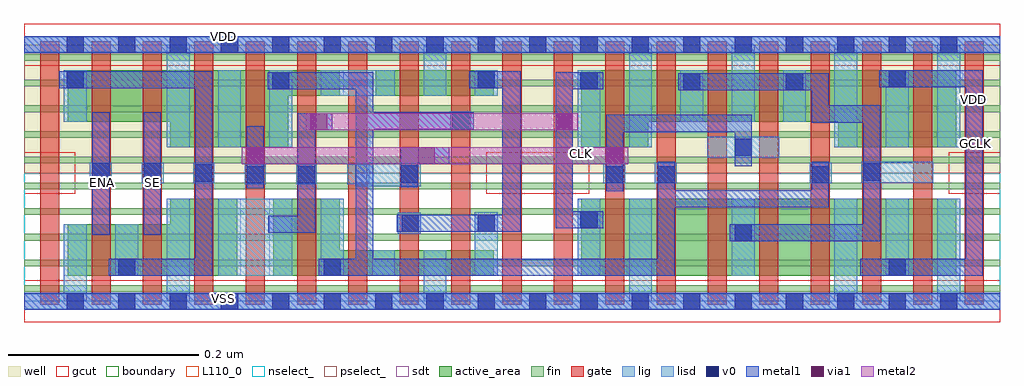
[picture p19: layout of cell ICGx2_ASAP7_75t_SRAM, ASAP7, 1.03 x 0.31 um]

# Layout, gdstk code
import gdstk
lib = gdstk.Library(unit=1e-6, precision=2.5e-10)
def R(c, l, rs):  # rectangles x0, y0, x1, y1
    for r in rs: c.add(gdstk.rectangle(r[:2], r[2:], *l))
def A(c, l, x, y, w, h, nx, ny, dx, dy):  # array of equal rectangles
    R(c, l, [(x+i*dx, y+j*dy, x+i*dx+w, y+j*dy+h) for i in range(nx) for j in range(ny)])
def P(c, l, *ps):  # polygons
    for p in ps: c.add(gdstk.Polygon(p, *l))
well = (1, 0)
fin = (2, 0)
gate = (7, 0)
gcut = (10, 0)
active_area = (11, 0)
nselect_ = (12, 0)
pselect_ = (13, 0)
lig = (16, 0)
lisd = (17, 0)
v0 = (18, 0)
metal1 = (19, 0)
metal2 = (20, 0)
via1 = (21, 0)
sdt = (88, 0)
boundary = (100, 0)
L110_0 = (110, 0)

icgx2_asap7_75t_sram = lib.new_cell('ICGx2_ASAP7_75t_SRAM')
R(icgx2_asap7_75t_sram, well, [(0,0.135,1.026,0.27)])
A(icgx2_asap7_75t_sram, fin, 0, 0.01, 1.026, 0.007, 1, 10, 0, 0.027)
A(icgx2_asap7_75t_sram, gate, 0.017, -0.0035, 0.02, 0.277, 19, 1, 0.054, 0)
R(icgx2_asap7_75t_sram, gcut, [(0,-0.022,1.026,0.022), (0,0.113,0.054,0.157), (0.486,0.113,0.594,0.157), (0.972,0.113,1.026,0.157), (0,0.248,1.026,0.292)])
R(icgx2_asap7_75t_sram, active_area, [(0.586,0.027,0.98,0.108), (0.37,0.216,0.494,0.243)])
P(icgx2_asap7_75t_sram, active_area, [(0.98,0.243),(0.586,0.243),(0.586,0.162),(0.656,0.162),(0.656,0.189),(0.856,0.189),(0.856,0.162),(0.98,0.162)],
  [(0.494,0.054),(0.332,0.054),(0.332,0.108),(0.262,0.108),(0.262,0.027),(0.494,0.027)],
  [(0.332,0.243),(0.046,0.243),(0.046,0.189),(0.154,0.189),(0.154,0.162),(0.278,0.162),(0.278,0.216),(0.332,0.216)],
  [(0.224,0.108),(0.154,0.108),(0.154,0.081),(0.046,0.081),(0.046,0.027),(0.224,0.027)])
R(icgx2_asap7_75t_sram, nselect_, [(0,0,1.026,0.135)])
R(icgx2_asap7_75t_sram, pselect_, [(0,0.135,1.026,0.27)])
R(icgx2_asap7_75t_sram, lig, [(0,-0.008,1.026,0.008), (0.393,0.071,0.417,0.093), (0.232,0.123,0.254,0.144), (0.286,0.123,0.308,0.144), (0.34,0.123,0.363,0.144), (0.069,0.124,0.092,0.146), (0.124,0.124,0.147,0.146), (0.178,0.124,0.2,0.146), (0.609,0.124,0.632,0.146), (0.663,0.124,0.686,0.146), (0.826,0.124,0.849,0.146), (0.88,0.125,0.956,0.147), (0.718,0.151,0.794,0.173), (0.448,0.18,0.47,0.2), (0,0.262,1.026,0.278)])
A(icgx2_asap7_75t_sram, lisd, 0.582, 0.027, 0.024, 0.081, 3, 1, 0.162, 0)
A(icgx2_asap7_75t_sram, lisd, 0.258, 0.162, 0.024, 0.081, 3, 1, 0.324, 0)
R(icgx2_asap7_75t_sram, lisd, [(0.042,0,0.066,0.081), (0.15,0,0.174,0.108), (0.42,0,0.444,0.054), (0.636,0,0.66,0.108), (0.852,0,0.876,0.108), (0.96,0,0.984,0.108), (0.096,0.027,0.12,0.081), (0.204,0.027,0.282,0.108), (0.312,0.027,0.336,0.108), (0.366,0.027,0.39,0.054), (0.474,0.027,0.498,0.094), (0.348,0.121,0.417,0.146), (0.15,0.162,0.174,0.27), (0.204,0.162,0.228,0.243), (0.636,0.162,0.66,0.27), (0.852,0.162,0.876,0.27), (0.96,0.162,0.984,0.27), (0.042,0.189,0.066,0.243), (0.69,0.189,0.714,0.243), (0.744,0.189,0.768,0.27), (0.798,0.189,0.822,0.243), (0.312,0.216,0.39,0.243), (0.42,0.216,0.444,0.27), (0.474,0.216,0.498,0.243)])
A(icgx2_asap7_75t_sram, v0, 0.045, -0.009, 0.018, 0.018, 18, 2, 0.054, 0.27)
R(icgx2_asap7_75t_sram, v0, [(0.099,0.027,0.117,0.045), (0.315,0.027,0.333,0.045), (0.909,0.027,0.927,0.045), (0.747,0.063,0.765,0.081), (0.397,0.073,0.415,0.091), (0.477,0.073,0.495,0.091), (0.585,0.077,0.603,0.095), (0.234,0.124,0.252,0.142), (0.288,0.124,0.306,0.142), (0.612,0.124,0.63,0.142), (0.666,0.124,0.684,0.142), (0.828,0.124,0.846,0.142), (0.396,0.125,0.414,0.143), (0.18,0.126,0.198,0.144), (0.882,0.127,0.9,0.145), (0.072,0.128,0.09,0.146), (0.126,0.128,0.144,0.146), (0.747,0.153,0.765,0.171), (0.45,0.181,0.468,0.199), (0.693,0.222,0.711,0.24), (0.801,0.222,0.819,0.24), (0.261,0.223,0.279,0.241), (0.585,0.223,0.603,0.241), (0.045,0.224,0.063,0.242), (0.477,0.224,0.495,0.242), (0.909,0.225,0.927,0.243)])
R(icgx2_asap7_75t_sram, metal1, [(0,-0.009,1.026,0.009), (0.072,0.07,0.09,0.199), (0.126,0.07,0.144,0.199), (0.234,0.119,0.252,0.184), (0,0.261,1.026,0.279)])
P(icgx2_asap7_75t_sram, metal1, [(1.008,0.243),(0.899,0.243),(0.899,0.225),(0.99,0.225),(0.99,0.045),(0.879,0.045),(0.879,0.027),(1.008,0.027)],
  [(0.9,0.206),(0.846,0.206),(0.846,0.24),(0.688,0.24),(0.688,0.222),(0.828,0.222),(0.828,0.188),(0.882,0.188),(0.882,0.081),(0.742,0.081),(0.742,0.063),(0.9,0.063)],
  [(0.846,0.147),(0.828,0.147),(0.828,0.117),(0.684,0.117),(0.684,0.147),(0.666,0.147),(0.666,0.045),(0.367,0.045),(0.367,0.181),(0.473,0.181),(0.473,0.199),(0.367,0.199),(0.367,0.241),(0.256,0.241),(0.256,0.223),(0.349,0.223),(0.349,0.045),(0.31,0.045),(0.31,0.027),(0.684,0.027),(0.684,0.099),(0.846,0.099)],
  [(0.765,0.196),(0.612,0.196),(0.612,0.116),(0.63,0.116),(0.63,0.178),(0.747,0.178),(0.747,0.142),(0.765,0.142)],
  [(0.609,0.095),(0.577,0.095),(0.577,0.223),(0.609,0.223),(0.609,0.241),(0.559,0.241),(0.559,0.077),(0.609,0.077)],
  [(0.522,0.242),(0.468,0.242),(0.468,0.224),(0.503,0.224),(0.503,0.091),(0.392,0.091),(0.392,0.073),(0.522,0.073)],
  [(0.447,0.162),(0.396,0.162),(0.396,0.12),(0.414,0.12),(0.414,0.144),(0.447,0.144)],
  [(0.324,0.198),(0.288,0.198),(0.288,0.09),(0.257,0.09),(0.257,0.072),(0.306,0.072),(0.306,0.18),(0.324,0.18)],
  [(0.198,0.242),(0.037,0.242),(0.037,0.224),(0.18,0.224),(0.18,0.045),(0.089,0.045),(0.089,0.027),(0.198,0.027)])
R(icgx2_asap7_75t_sram, metal2, [(0.229,0.144,0.635,0.162), (0.296,0.18,0.582,0.198)])
R(icgx2_asap7_75t_sram, via1, [(0.234,0.144,0.252,0.162), (0.414,0.144,0.432,0.162), (0.612,0.144,0.63,0.162), (0.301,0.18,0.319,0.198), (0.559,0.18,0.577,0.198)])
A(icgx2_asap7_75t_sram, sdt, 0.15, 0.027, 0.024, 0.081, 4, 1, 0.054, 0)
A(icgx2_asap7_75t_sram, sdt, 0.366, 0.027, 0.024, 0.027, 3, 1, 0.054, 0)
A(icgx2_asap7_75t_sram, sdt, 0.636, 0.027, 0.024, 0.081, 3, 1, 0.108, 0)
A(icgx2_asap7_75t_sram, sdt, 0.15, 0.162, 0.024, 0.081, 3, 1, 0.054, 0)
A(icgx2_asap7_75t_sram, sdt, 0.852, 0.162, 0.024, 0.081, 3, 1, 0.054, 0)
A(icgx2_asap7_75t_sram, sdt, 0.69, 0.189, 0.024, 0.054, 3, 1, 0.054, 0)
A(icgx2_asap7_75t_sram, sdt, 0.312, 0.216, 0.024, 0.027, 4, 1, 0.054, 0)
R(icgx2_asap7_75t_sram, sdt, [(0.042,0.027,0.066,0.081), (0.096,0.027,0.12,0.081), (0.582,0.027,0.606,0.108), (0.906,0.027,0.93,0.108), (0.96,0.027,0.984,0.108), (0.582,0.162,0.606,0.243), (0.636,0.162,0.66,0.243), (0.042,0.189,0.066,0.243)])
R(icgx2_asap7_75t_sram, boundary, [(0,0,1.026,0.27)])
R(icgx2_asap7_75t_sram, L110_0, [(0,0,1.026,0.27)])
icgx2_asap7_75t_sram.add(gdstk.Label('VDD', (0.21,0.278), layer=19, texttype=251))
icgx2_asap7_75t_sram.add(gdstk.Label('VSS', (0.21,0.003), layer=19, texttype=251))
icgx2_asap7_75t_sram.add(gdstk.Label('GCLK', (1,0.166), layer=19, texttype=251))
icgx2_asap7_75t_sram.add(gdstk.Label('ENA', (0.082,0.125), layer=19, texttype=251))
icgx2_asap7_75t_sram.add(gdstk.Label('SE', (0.135,0.125), layer=19, texttype=251))
icgx2_asap7_75t_sram.add(gdstk.Label('VDD', (0.998,0.212), layer=1, texttype=251))
icgx2_asap7_75t_sram.add(gdstk.Label('VSS', (1.067,0.211), layer=3, texttype=251))
icgx2_asap7_75t_sram.add(gdstk.Label('CLK', (0.586,0.156), layer=20, texttype=251))

lib.write_gds('ICGx2_ASAP7_75t_SRAM.gds')
